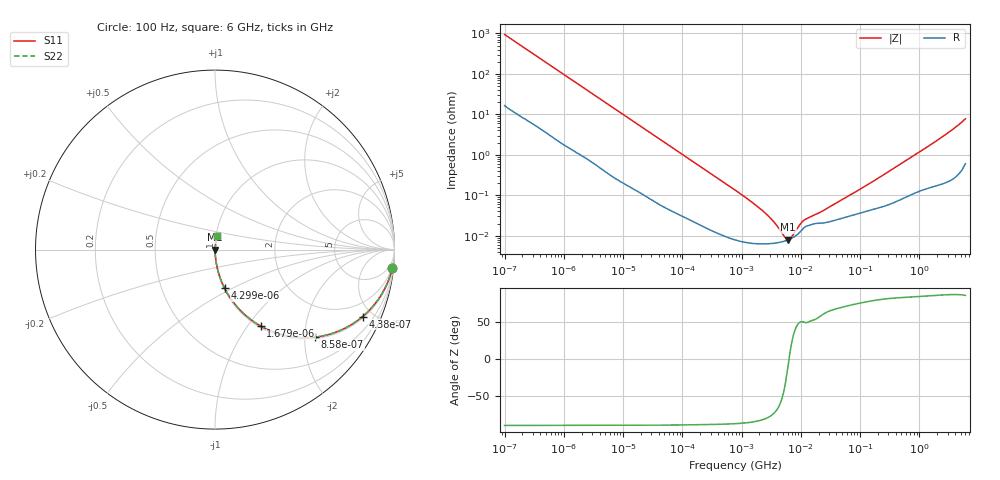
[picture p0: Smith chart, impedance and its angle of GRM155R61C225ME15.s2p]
!Murata Part Number: GRM155R61C225ME15
!These Parameters are Measured in Series Mode Connection
!Data Generated on Mar 30, 2021
!  o--ll--o
!Port1  Port2
!  o------o
!Operation Temp=25[degC], DC Bias Voltage=0[V]
!Freq. Start=100[Hz] Stop=6[GHz] 401[Steps]
# Hz S RI R 50
!Freq.(Hz) S11(Real) S11(Imag) S21(Real) S21(Imag) S12(Real) S12(Imag) S22(Real) S22(Imag)
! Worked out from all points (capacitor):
!   401 points, 100 Hz to 6 GHz, reference 50 ohm
!   read as one part in series: C = 1.68 uF near 109 Hz
!   lowest |Z| = 8.02 mohm at 6.075 MHz (marker M1)
!   series resonance near 6.322 MHz, so ESL is about 380 pH
!   S11 on the Smith chart (normalised r, x): 100 Hz: 1, -19; 438 Hz: 1.08, -4.38; 858 Hz: 1.04, -2.25; 1.679 kHz: 1.02, -1.16; 4.299 kHz: 1.01, -0.46; 6 GHz: 1.01, +0.16
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100  0.9871 -0.1044  0.0129 0.1044  0.0129 0.1044  0.9871 -0.1044
245  0.9342 -0.2391  0.0658 0.2391  0.0658 0.2391  0.9342 -0.2391
438  0.8228 -0.3728  0.1772 0.3728  0.1772 0.3728  0.8228 -0.3728
858  0.5582 -0.4876  0.4418 0.4876  0.4418 0.4876  0.5582 -0.4876
1174  0.4073 -0.4822  0.5927 0.4822  0.5927 0.4822  0.4073 -0.4822
1679  0.2557 -0.4267  0.7443 0.4267  0.7443 0.4267  0.2557 -0.4267
2008  0.1957 -0.387  0.8043 0.387  0.8043 0.387  0.1957 -0.387
4299  0.0538 -0.216  0.9462 0.216  0.9462 0.216  0.0538 -0.216
11009  0.00992 -0.0894  0.9901 0.0894  0.9901 0.0894  0.00992 -0.0894
40335  0.00123 -0.0251  0.9988 0.0251  0.9988 0.0251  0.00123 -0.0251
774597  8.1e-05 -0.00135  0.9999 0.00135  0.9999 0.00135  8.1e-05 -0.00135
2268635  6.31e-05 -0.00041  0.9999 0.00041  0.9999 0.00041  6.31e-05 -0.00041
3394479  6.49e-05 -0.000224  0.9999 0.000224  0.9999 0.000224  6.49e-05 -0.000224
5079039  7.25e-05 -7.44e-05  0.9999 7.44e-05  0.9999 7.44e-05  7.25e-05 -7.44e-05
6075234  7.91e-05 -1.34e-05  0.9999 1.34e-05  0.9999 1.34e-05  7.91e-05 -1.34e-05
7266822  8.94e-05 4.7e-05  0.9999 -4.7e-05  0.9999 -4.7e-05  8.94e-05 4.7e-05
1.087309e7  0.000149 0.000177  0.9999 -0.000177  0.9999 -0.000177  0.000149 0.000177
1.555665e7  0.000192 0.000245  0.9998 -0.000245  0.9998 -0.000245  0.000192 0.000245
2.434276e7  0.000208 0.00037  0.9998 -0.00037  0.9998 -0.00037  0.000208 0.00037
3.124326e8  0.00061 0.00392  0.9994 -0.00392  0.9994 -0.00392  0.00061 0.00392
2.048624e9  0.00229 0.0232  0.9977 -0.0232  0.9977 -0.0232  0.00229 0.0232
6e9  0.0119 0.0762  0.9881 -0.0762  0.9881 -0.0762  0.0119 0.0762
